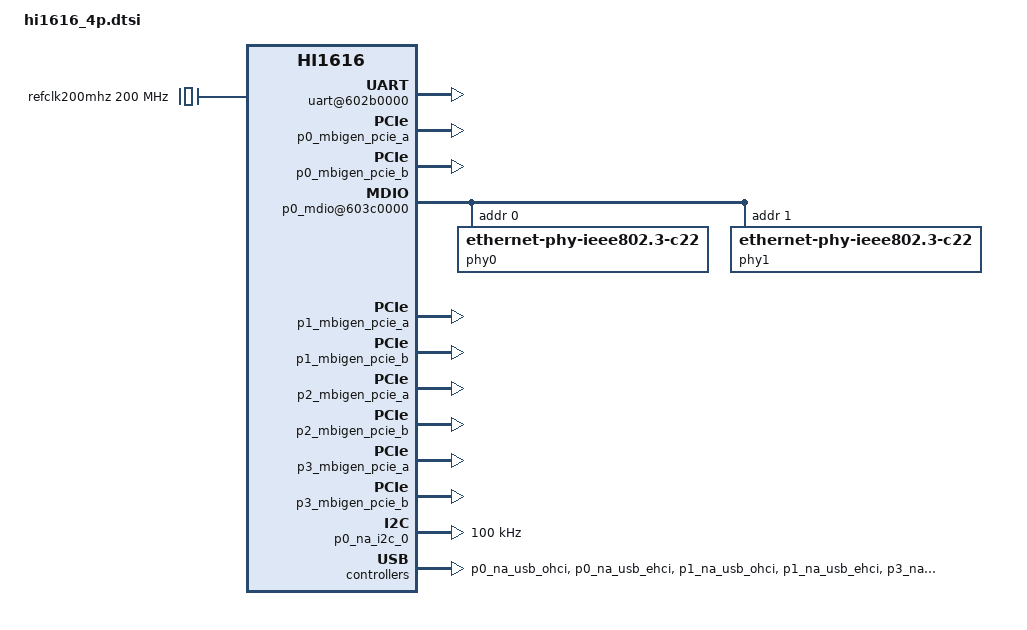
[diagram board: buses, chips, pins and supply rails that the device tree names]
/**
 * dtsi file for Hisilicon Hi1616 Product Board
 *
 * Copyright (C) 2016 Hisilicon Ltd.
 *
 * This program is free software; you can redistribute it and/or modify
 * it under the terms of the GNU General Public License version 2 as
 * publishhed by the Free Software Foundation.
 *
 */

/ {
	#address-cells = <2>;
	#size-cells = <2>;
	compatible = "hisilicon,hi1616";
	interrupt-parent = <&gic0>;

	psci {
		compatible = "arm,psci-0.2";
		method = "smc";
	};

	cpus {
		#address-cells = <1>;
		#size-cells = <0>;

		cpu-map {
			cluster0 {
				core0 {
					cpu = <&CPU0>;
				};

				core1 {
					cpu = <&CPU1>;
				};

				core2 {
					cpu = <&CPU2>;
				};

				core3 {
					cpu = <&CPU3>;
				};

				core4 {
					cpu = <&CPU4>;
				};

				core5 {
					cpu = <&CPU5>;
				};

				core6 {
					cpu = <&CPU6>;
				};

				core7 {
					cpu = <&CPU7>;
				};

				core8 {
					cpu = <&CPU8>;
				};

				core9 {
					cpu = <&CPU9>;
				};

				core10 {
					cpu = <&CPU10>;
				};

				core11 {
					cpu = <&CPU11>;
				};

				core12 {
					cpu = <&CPU12>;
				};

				core13 {
					cpu = <&CPU13>;
				};

				core14 {
					cpu = <&CPU14>;
				};

				core15 {
					cpu = <&CPU15>;
				};
			};

			cluster1 {
				core0 {
					cpu = <&CPU16>;
				};

				core1 {
					cpu = <&CPU17>;
				};

				core2 {
					cpu = <&CPU18>;
				};

				core3 {
					cpu = <&CPU19>;
				};

				core4 {
					cpu = <&CPU20>;
				};

				core5 {
					cpu = <&CPU21>;
				};

				core6 {
					cpu = <&CPU22>;
				};

				core7 {
					cpu = <&CPU23>;
				};

				core8 {
					cpu = <&CPU24>;
				};

				core9 {
					cpu = <&CPU25>;
				};

				core10 {
					cpu = <&CPU26>;
				};

				core11 {
					cpu = <&CPU27>;
				};

				core12 {
					cpu = <&CPU28>;
				};

				core13 {
					cpu = <&CPU29>;
				};

				core14 {
					cpu = <&CPU30>;
				};

				core15 {
					cpu = <&CPU31>;
				};
			};

			cluster2 {
				core0 {
					cpu = <&CPU32>;
				};

				core1 {
					cpu = <&CPU33>;
				};

				core2 {
					cpu = <&CPU34>;
				};

				core3 {
					cpu = <&CPU35>;
				};

				core4 {
					cpu = <&CPU36>;
				};

				core5 {
					cpu = <&CPU37>;
				};

				core6 {
					cpu = <&CPU38>;
				};

				core7 {
					cpu = <&CPU39>;
				};

				core8 {
					cpu = <&CPU40>;
				};

				core9 {
					cpu = <&CPU41>;
				};

				core10 {
					cpu = <&CPU42>;
				};

				core11 {
					cpu = <&CPU43>;
				};

				core12 {
					cpu = <&CPU44>;
				};

				core13 {
					cpu = <&CPU45>;
				};

				core14 {
					cpu = <&CPU46>;
				};

				core15 {
					cpu = <&CPU47>;
				};
			};

			cluster3 {
				core0 {
					cpu = <&CPU48>;
				};

				core1 {
					cpu = <&CPU49>;
				};

				core2 {
					cpu = <&CPU50>;
				};

				core3 {
					cpu = <&CPU51>;
				};

				core4 {
					cpu = <&CPU52>;
				};

				core5 {
					cpu = <&CPU53>;
				};

				core6 {
					cpu = <&CPU54>;
				};

				core7 {
					cpu = <&CPU55>;
				};

				core8 {
					cpu = <&CPU56>;
				};

				core9 {
					cpu = <&CPU57>;
				};

				core10 {
					cpu = <&CPU58>;
				};

				core11 {
					cpu = <&CPU59>;
				};

				core12 {
					cpu = <&CPU60>;
				};

				core13 {
					cpu = <&CPU61>;
				};

				core14 {
					cpu = <&CPU62>;
				};

				core15 {
					cpu = <&CPU63>;
				};
			};

			cluster4 {
				core0 {
					cpu = <&CPU64>;
				};

				core1 {
					cpu = <&CPU65>;
				};

				core2 {
					cpu = <&CPU66>;
				};

				core3 {
					cpu = <&CPU67>;
				};

				core4 {
					cpu = <&CPU68>;
				};

				core5 {
					cpu = <&CPU69>;
				};

				core6 {
					cpu = <&CPU70>;
				};

				core7 {
					cpu = <&CPU71>;
				};

				core8 {
					cpu = <&CPU72>;
				};

				core9 {
					cpu = <&CPU73>;
				};

				core10 {
					cpu = <&CPU74>;
				};

				core11 {
					cpu = <&CPU75>;
				};

				core12 {
					cpu = <&CPU76>;
				};

				core13 {
					cpu = <&CPU77>;
				};

				core14 {
					cpu = <&CPU78>;
				};

				core15 {
					cpu = <&CPU79>;
				};
			};

			cluster5 {
				core0 {
					cpu = <&CPU80>;
				};

				core1 {
					cpu = <&CPU81>;
				};

				core2 {
					cpu = <&CPU82>;
				};

				core3 {
					cpu = <&CPU83>;
				};

				core4 {
					cpu = <&CPU84>;
				};

				core5 {
					cpu = <&CPU85>;
				};

				core6 {
					cpu = <&CPU86>;
				};

				core7 {
					cpu = <&CPU87>;
				};

				core8 {
					cpu = <&CPU88>;
				};

				core9 {
					cpu = <&CPU89>;
				};

				core10 {
					cpu = <&CPU90>;
				};

				core11 {
					cpu = <&CPU91>;
				};

				core12 {
					cpu = <&CPU92>;
				};

				core13 {
					cpu = <&CPU93>;
				};

				core14 {
					cpu = <&CPU94>;
				};

				core15 {
					cpu = <&CPU95>;
				};
			};

			cluster6 {
				core0 {
					cpu = <&CPU96>;
				};

				core1 {
					cpu = <&CPU97>;
				};

				core2 {
					cpu = <&CPU98>;
				};

				core3 {
					cpu = <&CPU99>;
				};

				core4 {
					cpu = <&CPU100>;
				};

				core5 {
					cpu = <&CPU101>;
				};

				core6 {
					cpu = <&CPU102>;
				};

				core7 {
					cpu = <&CPU103>;
				};

				core8 {
					cpu = <&CPU104>;
				};

				core9 {
					cpu = <&CPU105>;
				};

				core10 {
					cpu = <&CPU106>;
				};

				core11 {
					cpu = <&CPU107>;
				};

				core12 {
					cpu = <&CPU108>;
				};

				core13 {
					cpu = <&CPU109>;
				};

				core14 {
					cpu = <&CPU110>;
				};

				core15 {
					cpu = <&CPU111>;
				};
			};

			cluster7 {
				core0 {
					cpu = <&CPU112>;
				};

				core1 {
					cpu = <&CPU113>;
				};

				core2 {
					cpu = <&CPU114>;
				};

				core3 {
					cpu = <&CPU115>;
				};

				core4 {
					cpu = <&CPU116>;
				};

				core5 {
					cpu = <&CPU117>;
				};

				core6 {
					cpu = <&CPU118>;
				};

				core7 {
					cpu = <&CPU119>;
				};

				core8 {
					cpu = <&CPU120>;
				};

				core9 {
					cpu = <&CPU121>;
				};

				core10 {
					cpu = <&CPU122>;
				};

				core11 {
					cpu = <&CPU123>;
				};

				core12 {
					cpu = <&CPU124>;
				};

				core13 {
					cpu = <&CPU125>;
				};

				core14 {
					cpu = <&CPU126>;
				};

				core15 {
					cpu = <&CPU127>;
				};
			};
		};

		CPU0: cpu@10000 {
			device_type = "cpu";
			compatible = "arm,armv8";
			reg = <0x10000>;
			enable-method = "psci";
			numa-node-id = <0>;
		};

		CPU1: cpu@10001 {
			device_type = "cpu";
			compatible = "arm,armv8";
			reg = <0x10001>;
			enable-method = "psci";
			numa-node-id = <0>;
		};

		CPU2: cpu@10002 {
			device_type = "cpu";
			compatible = "arm,armv8";
			reg = <0x10002>;
			enable-method = "psci";
			numa-node-id = <0>;
		};

		CPU3: cpu@10003 {
			device_type = "cpu";
			compatible = "arm,armv8";
			reg = <0x10003>;
			enable-method = "psci";
			numa-node-id = <0>;
		};

		CPU4: cpu@10100 {
			device_type = "cpu";
			compatible = "arm,armv8";
			reg = <0x10100>;
			enable-method = "psci";
			numa-node-id = <0>;
		};

		CPU5: cpu@10101 {
			device_type = "cpu";
			compatible = "arm,armv8";
			reg = <0x10101>;
			enable-method = "psci";
			numa-node-id = <0>;
		};

		CPU6: cpu@10102 {
			device_type = "cpu";
			compatible = "arm,armv8";
			reg = <0x10102>;
			enable-method = "psci";
			numa-node-id = <0>;
		};

		CPU7: cpu@10103 {
			device_type = "cpu";
			compatible = "arm,armv8";
			reg = <0x10103>;
			enable-method = "psci";
			numa-node-id = <0>;
		};

		CPU8: cpu@10200 {
			device_type = "cpu";
			compatible = "arm,armv8";
			reg = <0x10200>;
			enable-method = "psci";
			numa-node-id = <0>;
		};

		CPU9: cpu@10201 {
			device_type = "cpu";
			compatible = "arm,armv8";
			reg = <0x10201>;
			enable-method = "psci";
			numa-node-id = <0>;
		};

		CPU10: cpu@10202 {
			device_type = "cpu";
			compatible = "arm,armv8";
			reg = <0x10202>;
			enable-method = "psci";
			numa-node-id = <0>;
		};

		CPU11: cpu@10203 {
			device_type = "cpu";
			compatible = "arm,armv8";
			reg = <0x10203>;
			enable-method = "psci";
			numa-node-id = <0>;
		};

		CPU12: cpu@10300 {
			device_type = "cpu";
			compatible = "arm,armv8";
			reg = <0x10300>;
			enable-method = "psci";
			numa-node-id = <0>;
		};

		CPU13: cpu@10301 {
			device_type = "cpu";
			compatible = "arm,armv8";
			reg = <0x10301>;
			enable-method = "psci";
			numa-node-id = <0>;
		};

		CPU14: cpu@10302 {
			device_type = "cpu";
			compatible = "arm,armv8";
			reg = <0x10302>;
			enable-method = "psci";
			numa-node-id = <0>;
		};

		CPU15: cpu@10303 {
			device_type = "cpu";
			compatible = "arm,armv8";
			reg = <0x10303>;
			enable-method = "psci";
			numa-node-id = <0>;
		};

		CPU16: cpu@30000 {
			device_type = "cpu";
			compatible = "arm,armv8";
			reg = <0x30000>;
			enable-method = "psci";
			numa-node-id = <1>;
		};

		CPU17: cpu@30001 {
			device_type = "cpu";
			compatible = "arm,armv8";
			reg = <0x30001>;
			enable-method = "psci";
			numa-node-id = <1>;
		};

		CPU18: cpu@30002 {
			device_type = "cpu";
			compatible = "arm,armv8";
			reg = <0x30002>;
			enable-method = "psci";
			numa-node-id = <1>;
		};

		CPU19: cpu@30003 {
			device_type = "cpu";
			compatible = "arm,armv8";
			reg = <0x30003>;
			enable-method = "psci";
			numa-node-id = <1>;
		};

		CPU20: cpu@30100 {
			device_type = "cpu";
			compatible = "arm,armv8";
			reg = <0x30100>;
			enable-method = "psci";
			numa-node-id = <1>;
		};

		CPU21: cpu@30101 {
			device_type = "cpu";
			compatible = "arm,armv8";
			reg = <0x30101>;
			enable-method = "psci";
			numa-node-id = <1>;
		};

		CPU22: cpu@30102 {
			device_type = "cpu";
			compatible = "arm,armv8";
			reg = <0x30102>;
			enable-method = "psci";
			numa-node-id = <1>;
		};

		CPU23: cpu@30103 {
			device_type = "cpu";
			compatible = "arm,armv8";
			reg = <0x30103>;
			enable-method = "psci";
			numa-node-id = <1>;
		};

		CPU24: cpu@30200 {
			device_type = "cpu";
			compatible = "arm,armv8";
			reg = <0x30200>;
			enable-method = "psci";
			numa-node-id = <1>;
		};

		CPU25: cpu@30201 {
			device_type = "cpu";
			compatible = "arm,armv8";
			reg = <0x30201>;
			enable-method = "psci";
			numa-node-id = <1>;
		};

		CPU26: cpu@30202 {
			device_type = "cpu";
			compatible = "arm,armv8";
			reg = <0x30202>;
			enable-method = "psci";
			numa-node-id = <1>;
		};

		CPU27: cpu@30203 {
			device_type = "cpu";
			compatible = "arm,armv8";
			reg = <0x30203>;
			enable-method = "psci";
			numa-node-id = <1>;
		};

		CPU28: cpu@30300 {
			device_type = "cpu";
			compatible = "arm,armv8";
			reg = <0x30300>;
			enable-method = "psci";
			numa-node-id = <1>;
		};

		CPU29: cpu@30301 {
			device_type = "cpu";
			compatible = "arm,armv8";
			reg = <0x30301>;
			enable-method = "psci";
			numa-node-id = <1>;
		};

		CPU30: cpu@30302 {
			device_type = "cpu";
			compatible = "arm,armv8";
			reg = <0x30302>;
			enable-method = "psci";
			numa-node-id = <1>;
		};

		CPU31: cpu@30303 {
			device_type = "cpu";
			compatible = "arm,armv8";
			reg = <0x30303>;
			enable-method = "psci";
			numa-node-id = <1>;
		};

		CPU32: cpu@50000 {
			device_type = "cpu";
			compatible = "arm,armv8";
			reg = <0x50000>;
			enable-method = "psci";
			numa-node-id = <2>;
		};

		CPU33: cpu@50001 {
			device_type = "cpu";
			compatible = "arm,armv8";
			reg = <0x50001>;
			enable-method = "psci";
			numa-node-id = <2>;
		};

		CPU34: cpu@50002 {
			device_type = "cpu";
			compatible = "arm,armv8";
			reg = <0x50002>;
			enable-method = "psci";
			numa-node-id = <2>;
		};

		CPU35: cpu@50003 {
			device_type = "cpu";
			compatible = "arm,armv8";
			reg = <0x50003>;
			enable-method = "psci";
			numa-node-id = <2>;
		};

		CPU36: cpu@50100 {
			device_type = "cpu";
			compatible = "arm,armv8";
			reg = <0x50100>;
			enable-method = "psci";
			numa-node-id = <2>;
		};

		CPU37: cpu@50101 {
			device_type = "cpu";
			compatible = "arm,armv8";
			reg = <0x50101>;
			enable-method = "psci";
			numa-node-id = <2>;
		};

		CPU38: cpu@50102 {
			device_type = "cpu";
			compatible = "arm,armv8";
			reg = <0x50102>;
			enable-method = "psci";
			numa-node-id = <2>;
		};

		CPU39: cpu@50103 {
			device_type = "cpu";
			compatible = "arm,armv8";
			reg = <0x50103>;
			enable-method = "psci";
			numa-node-id = <2>;
		};

		CPU40: cpu@50200 {
			device_type = "cpu";
			compatible = "arm,armv8";
			reg = <0x50200>;
			enable-method = "psci";
			numa-node-id = <2>;
		};

		CPU41: cpu@50201 {
			device_type = "cpu";
			compatible = "arm,armv8";
			reg = <0x50201>;
			enable-method = "psci";
			numa-node-id = <2>;
		};

		CPU42: cpu@50202 {
			device_type = "cpu";
			compatible = "arm,armv8";
			reg = <0x50202>;
			enable-method = "psci";
			numa-node-id = <2>;
		};

		CPU43: cpu@50203 {
			device_type = "cpu";
			compatible = "arm,armv8";
			reg = <0x50203>;
			enable-method = "psci";
			numa-node-id = <2>;
		};

		CPU44: cpu@50300 {
			device_type = "cpu";
			compatible = "arm,armv8";
			reg = <0x50300>;
			enable-method = "psci";
			numa-node-id = <2>;
		};

		CPU45: cpu@50301 {
			device_type = "cpu";
			compatible = "arm,armv8";
			reg = <0x50301>;
			enable-method = "psci";
			numa-node-id = <2>;
		};

		CPU46: cpu@50302 {
			device_type = "cpu";
			compatible = "arm,armv8";
			reg = <0x50302>;
			enable-method = "psci";
			numa-node-id = <2>;
		};

		CPU47: cpu@50303 {
			device_type = "cpu";
			compatible = "arm,armv8";
			reg = <0x50303>;
			enable-method = "psci";
			numa-node-id = <2>;
		};

		CPU48: cpu@70000 {
			device_type = "cpu";
			compatible = "arm,armv8";
			reg = <0x70000>;
			enable-method = "psci";
			numa-node-id = <3>;
		};

		CPU49: cpu@70001 {
			device_type = "cpu";
			compatible = "arm,armv8";
			reg = <0x70001>;
			enable-method = "psci";
			numa-node-id = <3>;
		};

		CPU50: cpu@70002 {
			device_type = "cpu";
			compatible = "arm,armv8";
			reg = <0x70002>;
			enable-method = "psci";
			numa-node-id = <3>;
		};

		CPU51: cpu@70003 {
			device_type = "cpu";
			compatible = "arm,armv8";
			reg = <0x70003>;
			enable-method = "psci";
			numa-node-id = <3>;
		};

		CPU52: cpu@70100 {
			device_type = "cpu";
			compatible = "arm,armv8";
			reg = <0x70100>;
			enable-method = "psci";
			numa-node-id = <3>;
		};

		CPU53: cpu@70101 {
			device_type = "cpu";
			compatible = "arm,armv8";
			reg = <0x70101>;
			enable-method = "psci";
			numa-node-id = <3>;
		};

		CPU54: cpu@70102 {
			device_type = "cpu";
			compatible = "arm,armv8";
			reg = <0x70102>;
			enable-method = "psci";
			numa-node-id = <3>;
		};

		CPU55: cpu@70103 {
			device_type = "cpu";
			compatible = "arm,armv8";
			reg = <0x70103>;
			enable-method = "psci";
			numa-node-id = <3>;
		};

		CPU56: cpu@70200 {
			device_type = "cpu";
			compatible = "arm,armv8";
			reg = <0x70200>;
			enable-method = "psci";
			numa-node-id = <3>;
		};

		CPU57: cpu@70201 {
			device_type = "cpu";
			compatible = "arm,armv8";
			reg = <0x70201>;
			enable-method = "psci";
			numa-node-id = <3>;
		};

		CPU58: cpu@70202 {
			device_type = "cpu";
			compatible = "arm,armv8";
			reg = <0x70202>;
			enable-method = "psci";
			numa-node-id = <3>;
		};

		CPU59: cpu@70203 {
			device_type = "cpu";
			compatible = "arm,armv8";
			reg = <0x70203>;
			enable-method = "psci";
			numa-node-id = <3>;
		};

		CPU60: cpu@70300 {
			device_type = "cpu";
			compatible = "arm,armv8";
			reg = <0x70300>;
			enable-method = "psci";
			numa-node-id = <3>;
		};

		CPU61: cpu@70301 {
			device_type = "cpu";
			compatible = "arm,armv8";
			reg = <0x70301>;
			enable-method = "psci";
			numa-node-id = <3>;
		};

		CPU62: cpu@70302 {
			device_type = "cpu";
			compatible = "arm,armv8";
			reg = <0x70302>;
			enable-method = "psci";
			numa-node-id = <3>;
		};

		CPU63: cpu@70303 {
			device_type = "cpu";
			compatible = "arm,armv8";
			reg = <0x70303>;
			enable-method = "psci";
			numa-node-id = <3>;
		};

		CPU64: cpu@90000 {
			device_type = "cpu";
			compatible = "arm,armv8";
			reg = <0x90000>;
			enable-method = "psci";
			numa-node-id = <4>;
		};

		CPU65: cpu@90001 {
			device_type = "cpu";
			compatible = "arm,armv8";
			reg = <0x90001>;
			enable-method = "psci";
			numa-node-id = <4>;
		};

		CPU66: cpu@90002 {
			device_type = "cpu";
			compatible = "arm,armv8";
			reg = <0x90002>;
			enable-method = "psci";
			numa-node-id = <4>;
		};

		CPU67: cpu@90003 {
			device_type = "cpu";
			compatible = "arm,armv8";
			reg = <0x90003>;
			enable-method = "psci";
			numa-node-id = <4>;
		};

		CPU68: cpu@90100 {
			device_type = "cpu";
			compatible = "arm,armv8";
			reg = <0x90100>;
			enable-method = "psci";
			numa-node-id = <4>;
		};

		CPU69: cpu@90101 {
			device_type = "cpu";
			compatible = "arm,armv8";
			reg = <0x90101>;
			enable-method = "psci";
			numa-node-id = <4>;
		};

		CPU70: cpu@90102 {
			device_type = "cpu";
			compatible = "arm,armv8";
			reg = <0x90102>;
			enable-method = "psci";
			numa-node-id = <4>;
		};

		CPU71: cpu@90103 {
			device_type = "cpu";
			compatible = "arm,armv8";
			reg = <0x90103>;
			enable-method = "psci";
			numa-node-id = <4>;
		};

		CPU72: cpu@90200 {
			device_type = "cpu";
			compatible = "arm,armv8";
			reg = <0x90200>;
			enable-method = "psci";
			numa-node-id = <4>;
		};

		CPU73: cpu@90201 {
			device_type = "cpu";
			compatible = "arm,armv8";
			reg = <0x90201>;
			enable-method = "psci";
			numa-node-id = <4>;
		};

		CPU74: cpu@90202 {
			device_type = "cpu";
			compatible = "arm,armv8";
			reg = <0x90202>;
			enable-method = "psci";
			numa-node-id = <4>;
		};

		CPU75: cpu@90203 {
			device_type = "cpu";
			compatible = "arm,armv8";
			reg = <0x90203>;
			enable-method = "psci";
			numa-node-id = <4>;
		};

		CPU76: cpu@90300 {
			device_type = "cpu";
			compatible = "arm,armv8";
			reg = <0x90300>;
			enable-method = "psci";
			numa-node-id = <4>;
		};

		CPU77: cpu@90301 {
			device_type = "cpu";
			compatible = "arm,armv8";
			reg = <0x90301>;
			enable-method = "psci";
			numa-node-id = <4>;
		};

		CPU78: cpu@90302 {
			device_type = "cpu";
			compatible = "arm,armv8";
			reg = <0x90302>;
			enable-method = "psci";
			numa-node-id = <4>;
		};

		CPU79: cpu@90303 {
			device_type = "cpu";
			compatible = "arm,armv8";
			reg = <0x90303>;
			enable-method = "psci";
			numa-node-id = <4>;
		};

		CPU80: cpu@b0000 {
			device_type = "cpu";
			compatible = "arm,armv8";
			reg = <0xb0000>;
			enable-method = "psci";
			numa-node-id = <5>;
		};

		CPU81: cpu@b0001 {
			device_type = "cpu";
			compatible = "arm,armv8";
			reg = <0xb0001>;
			enable-method = "psci";
			numa-node-id = <5>;
		};

		CPU82: cpu@b0002 {
			device_type = "cpu";
			compatible = "arm,armv8";
			reg = <0xb0002>;
			enable-method = "psci";
			numa-node-id = <5>;
		};

		CPU83: cpu@b0003 {
			device_type = "cpu";
			compatible = "arm,armv8";
			reg = <0xb0003>;
			enable-method = "psci";
			numa-node-id = <5>;
		};

		CPU84: cpu@b0100 {
			device_type = "cpu";
			compatible = "arm,armv8";
			reg = <0xb0100>;
			enable-method = "psci";
			numa-node-id = <5>;
		};

		CPU85: cpu@b0101 {
			device_type = "cpu";
			compatible = "arm,armv8";
			reg = <0xb0101>;
			enable-method = "psci";
			numa-node-id = <5>;
		};

		CPU86: cpu@b102 {
			device_type = "cpu";
			compatible = "arm,armv8";
			reg = <0xb0102>;
			enable-method = "psci";
			numa-node-id = <5>;
		};

		CPU87: cpu@b0103 {
			device_type = "cpu";
			compatible = "arm,armv8";
			reg = <0xb0103>;
			enable-method = "psci";
			numa-node-id = <5>;
		};

		CPU88: cpu@b0200 {
			device_type = "cpu";
			compatible = "arm,armv8";
			reg = <0xb0200>;
			enable-method = "psci";
			numa-node-id = <5>;
		};

		CPU89: cpu@b0201 {
			device_type = "cpu";
			compatible = "arm,armv8";
			reg = <0xb0201>;
			enable-method = "psci";
			numa-node-id = <5>;
		};

		CPU90: cpu@b0202 {
			device_type = "cpu";
			compatible = "arm,armv8";
			reg = <0xb0202>;
			enable-method = "psci";
			numa-node-id = <5>;
		};

		CPU91: cpu@b0203 {
			device_type = "cpu";
			compatible = "arm,armv8";
			reg = <0xb0203>;
			enable-method = "psci";
			numa-node-id = <5>;
		};

		CPU92: cpu@b0300 {
			device_type = "cpu";
			compatible = "arm,armv8";
			reg = <0xb0300>;
			enable-method = "psci";
			numa-node-id = <5>;
		};

		CPU93: cpu@b0301 {
			device_type = "cpu";
			compatible = "arm,armv8";
			reg = <0xb0301>;
			enable-method = "psci";
			numa-node-id = <5>;
		};

		CPU94: cpu@b0302 {
			device_type = "cpu";
			compatible = "arm,armv8";
			reg = <0xb0302>;
			enable-method = "psci";
			numa-node-id = <5>;
		};

		CPU95: cpu@b0303 {
			device_type = "cpu";
			compatible = "arm,armv8";
			reg = <0xb0303>;
			enable-method = "psci";
			numa-node-id = <5>;
		};

		CPU96: cpu@d0000 {
			device_type = "cpu";
			compatible = "arm,armv8";
			reg = <0xd0000>;
			enable-method = "psci";
			numa-node-id = <6>;
		};

		CPU97: cpu@d0001 {
			device_type = "cpu";
			compatible = "arm,armv8";
			reg = <0xd0001>;
			enable-method = "psci";
			numa-node-id = <6>;
		};

		CPU98: cpu@d0002 {
			device_type = "cpu";
			compatible = "arm,armv8";
			reg = <0xd0002>;
			enable-method = "psci";
			numa-node-id = <6>;
		};

		CPU99: cpu@d0003 {
			device_type = "cpu";
			compatible = "arm,armv8";
			reg = <0xd0003>;
			enable-method = "psci";
			numa-node-id = <6>;
		};

		CPU100: cpu@d0100 {
			device_type = "cpu";
			compatible = "arm,armv8";
			reg = <0xd0100>;
			enable-method = "psci";
			numa-node-id = <6>;
		};

		CPU101: cpu@d0101 {
			device_type = "cpu";
			compatible = "arm,armv8";
			reg = <0xd0101>;
			enable-method = "psci";
			numa-node-id = <6>;
		};

		CPU102: cpu@d0102 {
			device_type = "cpu";
			compatible = "arm,armv8";
			reg = <0xd0102>;
			enable-method = "psci";
			numa-node-id = <6>;
		};

		CPU103: cpu@d0103 {
			device_type = "cpu";
			compatible = "arm,armv8";
			reg = <0xd0103>;
			enable-method = "psci";
			numa-node-id = <6>;
		};

		CPU104: cpu@d0200 {
			device_type = "cpu";
			compatible = "arm,armv8";
			reg = <0xd0200>;
			enable-method = "psci";
			numa-node-id = <6>;
		};

		CPU105: cpu@d0201 {
			device_type = "cpu";
			compatible = "arm,armv8";
			reg = <0xd0201>;
			enable-method = "psci";
			numa-node-id = <6>;
		};

		CPU106: cpu@d0202 {
			device_type = "cpu";
			compatible = "arm,armv8";
			reg = <0xd0202>;
			enable-method = "psci";
			numa-node-id = <6>;
		};

		CPU107: cpu@d0203 {
			device_type = "cpu";
			compatible = "arm,armv8";
			reg = <0xd0203>;
			enable-method = "psci";
			numa-node-id = <6>;
		};

		CPU108: cpu@d0300 {
			device_type = "cpu";
			compatible = "arm,armv8";
			reg = <0xd0300>;
			enable-method = "psci";
			numa-node-id = <6>;
		};

		CPU109: cpu@d0301 {
			device_type = "cpu";
			compatible = "arm,armv8";
			reg = <0xd0301>;
			enable-method = "psci";
			numa-node-id = <6>;
		};

		CPU110: cpu@d0302 {
			device_type = "cpu";
			compatible = "arm,armv8";
			reg = <0xd0302>;
			enable-method = "psci";
			numa-node-id = <6>;
		};

		CPU111: cpu@d0303 {
			device_type = "cpu";
			compatible = "arm,armv8";
			reg = <0xd0303>;
			enable-method = "psci";
			numa-node-id = <6>;
		};

		CPU112: cpu@f0000 {
			device_type = "cpu";
			compatible = "arm,armv8";
			reg = <0xf0000>;
			enable-method = "psci";
			numa-node-id = <7>;
		};

		CPU113: cpu@f0001 {
			device_type = "cpu";
			compatible = "arm,armv8";
			reg = <0xf0001>;
			enable-method = "psci";
			numa-node-id = <7>;
		};

		CPU114: cpu@f0002 {
			device_type = "cpu";
			compatible = "arm,armv8";
			reg = <0xf0002>;
			enable-method = "psci";
			numa-node-id = <7>;
		};

		CPU115: cpu@f0003 {
			device_type = "cpu";
			compatible = "arm,armv8";
			reg = <0xf0003>;
			enable-method = "psci";
			numa-node-id = <7>;
		};

		CPU116: cpu@f0100 {
			device_type = "cpu";
			compatible = "arm,armv8";
			reg = <0xf0100>;
			enable-method = "psci";
			numa-node-id = <7>;
		};

		CPU117: cpu@f0101 {
			device_type = "cpu";
			compatible = "arm,armv8";
			reg = <0xf0101>;
			enable-method = "psci";
			numa-node-id = <7>;
		};

		CPU118: cpu@f0102 {
			device_type = "cpu";
			compatible = "arm,armv8";
			reg = <0xf0102>;
			enable-method = "psci";
			numa-node-id = <7>;
		};

		CPU119: cpu@f0103 {
			device_type = "cpu";
			compatible = "arm,armv8";
			reg = <0xf0103>;
			enable-method = "psci";
			numa-node-id = <7>;
		};

		CPU120: cpu@f0200 {
			device_type = "cpu";
			compatible = "arm,armv8";
			reg = <0xf0200>;
			enable-method = "psci";
			numa-node-id = <7>;
		};

		CPU121: cpu@f0201 {
			device_type = "cpu";
			compatible = "arm,armv8";
			reg = <0xf0201>;
			enable-method = "psci";
			numa-node-id = <7>;
		};

		CPU122: cpu@f0202 {
			device_type = "cpu";
			compatible = "arm,armv8";
			reg = <0xf0202>;
			enable-method = "psci";
			numa-node-id = <7>;
		};

		CPU123: cpu@f0203 {
			device_type = "cpu";
			compatible = "arm,armv8";
			reg = <0xf0203>;
			enable-method = "psci";
			numa-node-id = <7>;
		};

		CPU124: cpu@f0300 {
			device_type = "cpu";
			compatible = "arm,armv8";
			reg = <0xf0300>;
			enable-method = "psci";
			numa-node-id = <7>;
		};

		CPU125: cpu@f0301 {
			device_type = "cpu";
			compatible = "arm,armv8";
			reg = <0xf0301>;
			enable-method = "psci";
			numa-node-id = <7>;
		};

		CPU126: cpu@f0302 {
			device_type = "cpu";
			compatible = "arm,armv8";
			reg = <0xf0302>;
			enable-method = "psci";
			numa-node-id = <7>;
		};

		CPU127: cpu@f0303 {
			device_type = "cpu";
			compatible = "arm,armv8";
			reg = <0xf0303>;
			enable-method = "psci";
			numa-node-id = <7>;
		};
	};

	distance-map {
		compatible = "numa-distance-map-v1";
		distance-matrix = <0 1 15>, <2 3 15>, <4 5 15>, <6 7 15>;
	};

	gic0: interrupt-controller@4d000000 {
		compatible = "arm,gic-v3";
		#interrupt-cells = <3>;
		#address-cells = <2>;
		#size-cells = <2>;
		ranges;
		status-clear-fixup;
		interrupt-controller;
		#redistributor-regions = <8>;
		redistributor-stride = <0x0 0x40000>;
		reg = <0x0 0x4d000000 0x0 0x10000>,	/* P0 GICD A*/
		      <0x0 0x4d100000 0x0 0x400000>,	/* P0 GICR A*/
		      <0x0 0x6d100000 0x0 0x400000>,	/* P0 GICR B*/
		      <0x400 0x4d100000 0x0 0x400000>,	/* P1 GICR A*/
		      <0x400 0x6d100000 0x0 0x400000>,	/* P1 GICR B*/
		      <0x800 0x4d100000 0x0 0x400000>,	/* P2 GICR A*/
		      <0x800 0x6d100000 0x0 0x400000>,	/* P2 GICR B*/
		      <0xc00 0x4d100000 0x0 0x400000>,	/* P3 GICR A*/
		      <0xc00 0x6d100000 0x0 0x400000>,	/* P3 GICR B*/
		      <0x0 0xfe000000 0x0 0x10000>,	/* GICC */
		      <0x0 0xfe010000 0x0 0x10000>,     /* GICH */
		      <0x0 0xfe020000 0x0 0x10000>;     /* GICV */
		interrupts = <1 9 0xff04>;

		p0_its_peri_a: interrupt-controller@0x4c000000 {
			compatible = "arm,gic-v3-its";
			msi-controller;
			reg = <0x0 0x4c000000 0x0 0x1000000>;
		};

		p0_its_peri_b: interrupt-controller@0x6c000000 {
			compatible = "arm,gic-v3-its";
			msi-controller;
			reg = <0x0 0x6c000000 0x0 0x1000000>;
		};

		p0_its_dsa_a: interrupt-controller@0xc6000000 {
			compatible = "arm,gic-v3-its";
			msi-controller;
			reg = <0x0 0xc6000000 0x0 0x1000000>;
		};

		p0_its_dsa_b: interrupt-controller@0x8c6000000 {
			compatible = "arm,gic-v3-its";
			msi-controller;
			reg = <0x8 0xc6000000 0x0 0x1000000>;
		};

		p1_its_peri_a: interrupt-controller@0x4004c000000 {
			compatible = "arm,gic-v3-its";
			msi-controller;
			reg = <0x400 0x4c000000 0x0 0x1000000>;
		};

		p1_its_peri_b: interrupt-controller@0x4006c000000 {
			compatible = "arm,gic-v3-its";
			msi-controller;
			reg = <0x400 0x6c000000 0x0 0x1000000>;
		};

		p1_its_dsa_a: interrupt-controller@0x400c6000000 {
			compatible = "arm,gic-v3-its";
			msi-controller;
			reg = <0x400 0xc6000000 0x0 0x1000000>;
		};

		p1_its_dsa_b: interrupt-controller@0x408c6000000 {
			compatible = "arm,gic-v3-its";
			msi-controller;
			reg = <0x408 0xc6000000 0x0 0x1000000>;
		};

		p2_its_peri_a: interrupt-controller@0x8004c000000 {
			compatible = "arm,gic-v3-its";
			msi-controller;
			reg = <0x800 0x4c000000 0x0 0x1000000>;
		};

		p2_its_peri_b: interrupt-controller@0x8006c000000 {
			compatible = "arm,gic-v3-its";
			msi-controller;
			reg = <0x800 0x6c000000 0x0 0x1000000>;
		};

		p2_its_dsa_a: interrupt-controller@0x800c6000000 {
			compatible = "arm,gic-v3-its";
			msi-controller;
			reg = <0x800 0xc6000000 0x0 0x1000000>;
		};

		p2_its_dsa_b: interrupt-controller@0x808c6000000 {
			compatible = "arm,gic-v3-its";
			msi-controller;
			reg = <0x808 0xc6000000 0x0 0x1000000>;
		};

		p3_its_peri_a: interrupt-controller@0xc004c000000 {
			compatible = "arm,gic-v3-its";
			msi-controller;
			reg = <0xc00 0x4c000000 0x0 0x1000000>;
		};

		p3_its_peri_b: interrupt-controller@0xc006c000000 {
			compatible = "arm,gic-v3-its";
			msi-controller;
			reg = <0xc00 0x6c000000 0x0 0x1000000>;
		};

		p3_its_dsa_a: interrupt-controller@0xc00c6000000 {
			compatible = "arm,gic-v3-its";
			msi-controller;
			reg = <0xc00 0xc6000000 0x0 0x1000000>;
		};

		p3_its_dsa_b: interrupt-controller@0xc08c6000000 {
			compatible = "arm,gic-v3-its";
			msi-controller;
			reg = <0xc08 0xc6000000 0x0 0x1000000>;
		};
	};

	timer {
		compatible = "arm,armv8-timer";
		interrupts = <1 13 4>,
			     <1 14 4>,
			     <1 11 4>,
			     <1 10 4>;
		hisi,erratum-totem-v2;
	};

	pmu {
		compatible = "arm,armv8-pmuv3";
		interrupts = <1 7 4>;
	};

	soc {
		compatible = "simple-bus";
		#address-cells = <2>;
		#size-cells = <2>;
		ranges;

		refclk200mhz: refclk200mhz {
			compatible = "fixed-clock";
			#clock-cells = <0>;
			clock-frequency = <200000000>;
		};

		uart@602b0000 {
			compatible = "arm,pl011", "arm,primecell";
			reg = <0x0 0x602b0000 0x0 0x1000>;
			interrupt-parent = <&p0_mbigen_peri_b>;
			interrupts = <0x120c7 1 103 6>;
			clocks = <&refclk200mhz>;
			clock-names = "apb_pclk";
		};

		p0_mbigen_peri_a: interrupt-controller@40080000 {
			compatible = "hisilicon,mbigen-v2";
			msi-parent = <&p0_its_peri_a>;
			interrupt-controller;
			#interrupt-cells = <0x4>;
			reg = <0x0 0x40080000 0x0 0x10000>;
		};

		p0_mbigen_peri_b: interrupt-controller@60080000 {
			compatible = "hisilicon,mbigen-v2";
			msi-parent = <&p0_its_peri_b>;
			interrupt-controller;
			#interrupt-cells = <0x4>;
			reg = <0x0 0x60080000 0x0 0x10000>;
		};

		p0_mbigen_pcie_a: interrupt-controller@a0080000 {
			compatible = "hisilicon,mbigen-v2";
			msi-parent = <&p0_its_dsa_a>;
			interrupt-controller;
			#interrupt-cells = <4>;
			reg = <0x0 0xa0080000 0x0 0x10000>;
		};

		p0_mbigen_dsa_a: interrupt-controller@c0080000 {
			compatible = "hisilicon,mbigen-v2";
			msi-parent = <&p0_its_dsa_a>;
			interrupt-controller;
			#interrupt-cells = <4>;
			reg = <0x0 0xc0080000 0x0 0x10000>;
		};

		p0_mbigen_alg_a: interrupt-controller@d0080000 {
			compatible = "hisilicon,mbigen-v2";
			msi-parent = <&p0_its_dsa_a>;
			interrupt-controller;
			#interrupt-cells = <4>;
			reg = <0x0 0xd0080000 0x0 0x10000>;
		};

		p0_mbigen_pcie_b: interrupt-controller@8a0080000 {
			compatible = "hisilicon,mbigen-v2";
			msi-parent = <&p0_its_dsa_b>;
			interrupt-controller;
			#interrupt-cells = <4>;
			reg = <0x8 0xa0080000 0x0 0x10000>;
		};

		p0_mbigen_dsa_b: interrupt-controller@8c0080000 {
			compatible = "hisilicon,mbigen-v2";
			msi-parent = <&p0_its_dsa_b>;
			interrupt-controller;
			#interrupt-cells = <4>;
			reg = <0x8 0xc0080000 0x0 0x10000>;
		};

		p0_mbigen_alg_b: interrupt-controller@8d0080000 {
			compatible = "hisilicon,mbigen-v2";
			msi-parent = <&p0_its_dsa_b>;
			interrupt-controller;
			#interrupt-cells = <4>;
			reg = <0x8 0xd0080000 0x0 0x10000>;
		};

		p0_peri_c_subctrl: sub_ctrl_c@60000000 {
			compatible = "hisilicon,peri-c-subctrl", "syscon";
			reg = <0 0x60000000 0 0x10000>;
		};

		p0_mdio@603c0000 {
			compatible = "hisilicon,hi1616-mdio";
			reg = <0x0 0x603c0000 0x0 0x1000>;
			subctrl_vbase = <&p0_peri_c_subctrl>;
			#address-cells = <0x1>;
			#size-cells = <0x0>;

			phy0: ethernet-phy@4 {
				compatible = "ethernet-phy-ieee802.3-c22";
				reg = <0>;
			};
			phy1: ethernet-phy@5 {
				compatible = "ethernet-phy-ieee802.3-c22";
				reg = <1>;
			};
		};

		p1_mbigen_peri_a: interrupt-controller@40040080000 {
			compatible = "hisilicon,mbigen-v2";
			msi-parent = <&p1_its_peri_a>;
			interrupt-controller;
			#interrupt-cells = <0x4>;
			reg = <0x400 0x40080000 0x0 0x10000>;
		};

		p1_mbigen_peri_b: interrupt-controller@40060080000 {
			compatible = "hisilicon,mbigen-v2";
			msi-parent = <&p1_its_peri_b>;
			interrupt-controller;
			#interrupt-cells = <0x4>;
			reg = <0x400 0x60080000 0x0 0x10000>;
		};

		p1_mbigen_pcie_a: interrupt-controller@400a0080000 {
			compatible = "hisilicon,mbigen-v2";
			msi-parent = <&p1_its_dsa_a>;
			interrupt-controller;
			#interrupt-cells = <4>;
			reg = <0x400 0xa0080000 0x0 0x10000>;
		};

		p1_mbigen_dsa_a: interrupt-controller@400c0080000 {
			compatible = "hisilicon,mbigen-v2";
			msi-parent = <&p1_its_dsa_a>;
			interrupt-controller;
			#interrupt-cells = <4>;
			reg = <0x400 0xc0080000 0x0 0x10000>;
		};

		p1_mbigen_alg_a: interrupt-controller@400d0080000 {
			compatible = "hisilicon,mbigen-v2";
			msi-parent = <&p1_its_dsa_a>;
			interrupt-controller;
			#interrupt-cells = <4>;
			reg = <0x400 0xd0080000 0x0 0x10000>;
		};

		p1_mbigen_pcie_b: interrupt-controller@408a0080000 {
			compatible = "hisilicon,mbigen-v2";
			msi-parent = <&p1_its_dsa_b>;
			interrupt-controller;
			#interrupt-cells = <4>;
			reg = <0x408 0xa0080000 0x0 0x10000>;
		};

		p1_mbigen_dsa_b: interrupt-controller@408c0080000 {
			compatible = "hisilicon,mbigen-v2";
			msi-parent = <&p1_its_dsa_b>;
			interrupt-controller;
			#interrupt-cells = <4>;
			reg = <0x408 0xc0080000 0x0 0x10000>;
		};

		p1_mbigen_alg_b: interrupt-controller@408d0080000 {
			compatible = "hisilicon,mbigen-v2";
			msi-parent = <&p1_its_dsa_b>;
			interrupt-controller;
			#interrupt-cells = <4>;
			reg = <0x408 0xd0080000 0x0 0x10000>;
		};

		p2_mbigen_peri_a: interrupt-controller@80040080000 {
			compatible = "hisilicon,mbigen-v2";
			msi-parent = <&p2_its_peri_a>;
			interrupt-controller;
			#interrupt-cells = <0x4>;
			reg = <0x800 0x40080000 0x0 0x10000>;
		};

		p2_mbigen_peri_b: interrupt-controller@80060080000 {
			compatible = "hisilicon,mbigen-v2";
			msi-parent = <&p2_its_peri_b>;
			interrupt-controller;
			#interrupt-cells = <0x4>;
			reg = <0x800 0x60080000 0x0 0x10000>;
		};

		p2_mbigen_pcie_a: interrupt-controller@800a0080000 {
			compatible = "hisilicon,mbigen-v2";
			msi-parent = <&p2_its_dsa_a>;
			interrupt-controller;
			#interrupt-cells = <4>;
			reg = <0x800 0xa0080000 0x0 0x10000>;
		};

		p2_mbigen_dsa_a: interrupt-controller@800c0080000 {
			compatible = "hisilicon,mbigen-v2";
			msi-parent = <&p2_its_dsa_a>;
			interrupt-controller;
			#interrupt-cells = <4>;
			reg = <0x800 0xc0080000 0x0 0x10000>;
		};

		p2_mbigen_alg_a: interrupt-controller@800d0080000 {
			compatible = "hisilicon,mbigen-v2";
			msi-parent = <&p2_its_dsa_a>;
			interrupt-controller;
			#interrupt-cells = <4>;
			reg = <0x800 0xd0080000 0x0 0x10000>;
		};

		p2_mbigen_pcie_b: interrupt-controller@808a0080000 {
			compatible = "hisilicon,mbigen-v2";
			msi-parent = <&p2_its_dsa_b>;
			interrupt-controller;
			#interrupt-cells = <4>;
			reg = <0x808 0xa0080000 0x0 0x10000>;
		};

		p2_mbigen_dsa_b: interrupt-controller@808c0080000 {
			compatible = "hisilicon,mbigen-v2";
			msi-parent = <&p2_its_dsa_b>;
			interrupt-controller;
			#interrupt-cells = <4>;
			reg = <0x808 0xc0080000 0x0 0x10000>;
		};

		p2_mbigen_alg_b: interrupt-controller@808d0080000 {
			compatible = "hisilicon,mbigen-v2";
			msi-parent = <&p2_its_dsa_b>;
			interrupt-controller;
			#interrupt-cells = <4>;
			reg = <0x808 0xd0080000 0x0 0x10000>;
		};

		p3_mbigen_peri_a: interrupt-controller@c0040080000 {
			compatible = "hisilicon,mbigen-v2";
			msi-parent = <&p3_its_peri_a>;
			interrupt-controller;
			#interrupt-cells = <0x4>;
			reg = <0xc00 0x40080000 0x0 0x10000>;
		};

		p3_mbigen_peri_b: interrupt-controller@c0060080000 {
			compatible = "hisilicon,mbigen-v2";
			msi-parent = <&p3_its_peri_b>;
			interrupt-controller;
			#interrupt-cells = <0x4>;
			reg = <0xc00 0x60080000 0x0 0x10000>;
		};

		p3_mbigen_pcie_a: interrupt-controller@c00a0080000 {
			compatible = "hisilicon,mbigen-v2";
			msi-parent = <&p3_its_dsa_a>;
			interrupt-controller;
			#interrupt-cells = <4>;
			reg = <0xc00 0xa0080000 0x0 0x10000>;
		};

		p3_mbigen_dsa_a: interrupt-controller@c00c0080000 {
			compatible = "hisilicon,mbigen-v2";
			msi-parent = <&p3_its_dsa_a>;
			interrupt-controller;
			#interrupt-cells = <4>;
			reg = <0xc00 0xc0080000 0x0 0x10000>;
		};

		p3_mbigen_alg_a: interrupt-controller@c00d0080000 {
			compatible = "hisilicon,mbigen-v2";
			msi-parent = <&p3_its_dsa_a>;
			interrupt-controller;
			#interrupt-cells = <4>;
			reg = <0xc00 0xd0080000 0x0 0x10000>;
		};

		p3_mbigen_pcie_b: interrupt-controller@c08a0080000 {
			compatible = "hisilicon,mbigen-v2";
			msi-parent = <&p3_its_dsa_b>;
			interrupt-controller;
			#interrupt-cells = <4>;
			reg = <0xc08 0xa0080000 0x0 0x10000>;
		};

		p3_mbigen_dsa_b: interrupt-controller@c08c0080000 {
			compatible = "hisilicon,mbigen-v2";
			msi-parent = <&p3_its_dsa_b>;
			interrupt-controller;
			#interrupt-cells = <4>;
			reg = <0xc08 0xc0080000 0x0 0x10000>;
		};

		p3_mbigen_alg_b: interrupt-controller@c08d0080000 {
			compatible = "hisilicon,mbigen-v2";
			msi-parent = <&p3_its_dsa_b>;
			interrupt-controller;
			#interrupt-cells = <4>;
			reg = <0xc08 0xd0080000 0x0 0x10000>;
		};

		/* djtag in p0 cpu die */
		p0_totem_sysctrl_a: system-controller@40010000 {
			compatible = "hisilicon,hi1616-sysctrl", "syscon";
			reg = <0x0 0x40010000 0x0 0x10000>;
		};

		p0_totem_sysctrl_b: system-controller@60010000 {
			compatible = "hisilicon,hi1616-sysctrl", "syscon";
			reg = <0x0 0x60010000 0x0 0x10000>;
		};

		p0_djtag0: djtag@p0_0 {
			compatible = "hisilicon,hi1382-djtag";
			syscon = <&p0_totem_sysctrl_a>;
		};

		p0_djtag1: djtag@p0_1 {
			compatible = "hisilicon,hi1382-djtag";
			syscon = <&p0_totem_sysctrl_b>;
		};

		/* djtag in p0 io die */
		p0_nimbus_sysctrl_a: system-controller@d0000000 {
			compatible = "hisilicon,hi1616-io-sysctrl", "syscon";
			reg = <0x0 0xD0000000 0x0 0x10000>;
		};

		p0_nimbus_sysctrl_b: system-controller@8d0000000 {
			compatible = "hisilicon,hi1616-io-sysctrl", "syscon";
			reg = <0x8 0xD0000000 0x0 0x10000>;
		};

		p0_djtag2: djtag@p0_2 {
			compatible = "hisilicon,hi1382-djtag";
			syscon = <&p0_nimbus_sysctrl_a>;
		};

		p0_djtag3: djtag@p0_3 {
			compatible = "hisilicon,hi1382-djtag";
			syscon = <&p0_nimbus_sysctrl_b>;
		};

		/* djtag in p1 cpu die */
		p1_totem_sysctrl_a: system-controller@40040010000 {
			compatible = "hisilicon,hi1616-sysctrl", "syscon";
			reg = <0x400 0x40010000 0x0 0x10000>;
		};

		p1_totem_sysctrl_b: system-controller@40060010000 {
			compatible = "hisilicon,hi1616-sysctrl", "syscon";
			reg = <0x400 0x60010000 0x0 0x10000>;
		};

		p1_djtag0: djtag@p1_0 {
			compatible = "hisilicon,hi1382-djtag";
			syscon = <&p1_totem_sysctrl_a>;
		};

		p1_djtag1: djtag@p1_1 {
			compatible = "hisilicon,hi1382-djtag";
			syscon = <&p1_totem_sysctrl_b>;
		};

		/* djtag in p1 io die */
		p1_nimbus_sysctrl_a: system-controller@400d0000000 {
			compatible = "hisilicon,hi1616-io-sysctrl", "syscon";
			reg = <0x400 0xD0000000 0x0 0x10000>;
		};

		p1_nimbus_sysctrl_b: system-controller@408d0000000 {
			compatible = "hisilicon,hi1616-io-sysctrl", "syscon";
			reg = <0x408 0xD0000000 0x0 0x10000>;
		};

		p1_djtag2: djtag@p1_2 {
			compatible = "hisilicon,hi1382-djtag";
			syscon = <&p1_nimbus_sysctrl_a>;
		};

		p1_djtag3: djtag@p1_3 {
			compatible = "hisilicon,hi1382-djtag";
			syscon = <&p1_nimbus_sysctrl_b>;
		};

		/* djtag in p2 cpu die */
		p2_totem_sysctrl_a: system-controller@80040010000 {
			compatible = "hisilicon,hi1616-sysctrl", "syscon";
			reg = <0x800 0x40010000 0x0 0x10000>;
		};

		p2_totem_sysctrl_b: system-controller@80060010000 {
			compatible = "hisilicon,hi1616-sysctrl", "syscon";
			reg = <0x800 0x60010000 0x0 0x10000>;
		};

		p2_djtag0: djtag@p2_0 {
			compatible = "hisilicon,hi1382-djtag";
			syscon = <&p2_totem_sysctrl_a>;
		};

		p2_djtag1: djtag@p2_1 {
			compatible = "hisilicon,hi1382-djtag";
			syscon = <&p2_totem_sysctrl_b>;
		};

		/* djtag in p2 io die */
		p2_nimbus_sysctrl_a: system-controller@800d0000000 {
			compatible = "hisilicon,hi1616-io-sysctrl", "syscon";
			reg = <0x800 0xD0000000 0x0 0x10000>;
		};

		p2_nimbus_sysctrl_b: system-controller@808d0000000 {
			compatible = "hisilicon,hi1616-io-sysctrl", "syscon";
			reg = <0x808 0xD0000000 0x0 0x10000>;
		};

		p2_djtag2: djtag@p2_2 {
			compatible = "hisilicon,hi1382-djtag";
			syscon = <&p2_nimbus_sysctrl_a>;
		};

		p2_djtag3: djtag@p2_3 {
			compatible = "hisilicon,hi1382-djtag";
			syscon = <&p2_nimbus_sysctrl_b>;
		};

		/* djtag in p3 cpu die */
		p3_totem_sysctrl_a: system-controller@c0040010000 {
			compatible = "hisilicon,hi1616-sysctrl", "syscon";
			reg = <0xc00 0x40010000 0x0 0x10000>;
		};

		p3_totem_sysctrl_b: system-controller@c0060010000 {
			compatible = "hisilicon,hi1616-sysctrl", "syscon";
			reg = <0xc00 0x60010000 0x0 0x10000>;
		};

		p3_djtag0: djtag@p3_0 {
			compatible = "hisilicon,hi1382-djtag";
			syscon = <&p3_totem_sysctrl_a>;
		};

		p3_djtag1: djtag@p3_1 {
			compatible = "hisilicon,hi1382-djtag";
			syscon = <&p3_totem_sysctrl_b>;
		};

		/* djtag in p3 io die */
		p3_nimbus_sysctrl_a: system-controller@c00d0000000 {
			compatible = "hisilicon,hi1616-io-sysctrl", "syscon";
			reg = <0xc00 0xD0000000 0x0 0x10000>;
		};

		p3_nimbus_sysctrl_b: system-controller@c08d0000000 {
			compatible = "hisilicon,hi1616-io-sysctrl", "syscon";
			reg = <0xc08 0xD0000000 0x0 0x10000>;
		};

		p3_djtag2: djtag@p3_2 {
			compatible = "hisilicon,hi1382-djtag";
			syscon = <&p3_nimbus_sysctrl_a>;
		};

		p3_djtag3: djtag@p3_3 {
			compatible = "hisilicon,hi1382-djtag";
			syscon = <&p3_nimbus_sysctrl_b>;
		};
	};

	p0_lpc: lpc@a01b0000 {
		compatible = "hisilicon,low-pin-count";
		reg = <0x0 0xa01b0000 0x0 0x10000>;
	};

	p0_na_i2c_0: i2c@d00e0000 {
		compatible = "snps,designware-i2c";
		reg = <0x0 0xd00e0000 0 0x10000>;
		interrupt-parent = <&p0_mbigen_alg_a>;
		interrupts = <0x40B0E 1 3 6>;
		clocks = <&refclk200mhz>;
		i2c-sda-falling-time-ns = <913>;
		i2c-scl-falling-time-ns = <303>;
		i2c-sda-hold-time-ns = <0x9c2>;
		clock-frequency = <100000>;
	};

	p0_na_usb_ohci {
		compatible = "hisi, hi1710-ohci", "generic-ohci";
		reg = <0x0 0xa7030000 0x0 0x10000>;
		interrupt-parent = <&p0_mbigen_pcie_a>;
		interrupts = <0x40080 2 64 5>;
		dma-coherent;
	};

	p0_na_usb_ehci {
		compatible = "hisi, hi1710-ehci", "generic-ehci";
		reg = <0x0 0xa7020000 0x0 0x10000>;
		interrupt-parent = <&p0_mbigen_pcie_a>;
		interrupts = <0x40080 2 65 5>;
		dma-coherent;
	};

	p1_na_usb_ohci {
		compatible = "hisi, hi1710-ohci", "generic-ohci";
		reg = <0x400 0xa7030000 0x0 0x10000>;
		interrupt-parent = <&p1_mbigen_pcie_a>;
		interrupts = <0x44080 2 64 5>;
		dma-coherent;
	};

	p1_na_usb_ehci {
		compatible = "hisi, hi1710-ehci", "generic-ehci";
		reg = <0x400 0xa7020000 0x0 0x10000>;
		interrupt-parent = <&p1_mbigen_pcie_a>;
		interrupts = <0x44080 2 65 5>;
		dma-coherent;
	};

	p3_na_usb_ohci {
		compatible = "hisi, hi1710-ohci", "generic-ohci";
		reg = <0xC00 0xa7030000 0x0 0x10000>;
		interrupt-parent = <&p3_mbigen_pcie_a>;
		interrupts = <0x4C080 2 64 5>;
		dma-coherent;
	};

	p3_na_usb_ehci {
		compatible = "hisi, hi1710-ehci", "generic-ehci";
		reg = <0xC00 0xa7020000 0x0 0x10000>;
		interrupt-parent = <&p3_mbigen_pcie_a>;
		interrupts = <0x4C080 2 65 5>;
		dma-coherent;
	};

	/include/ "hi1616_4p_hns.dtsi"
	/include/ "hi1616_sas_evb_p0_na.dtsi"
	/include/ "hi1616_sas_evb_p1_na.dtsi"
	/include/ "hi1616_sas_evb_p2_na.dtsi"
};
